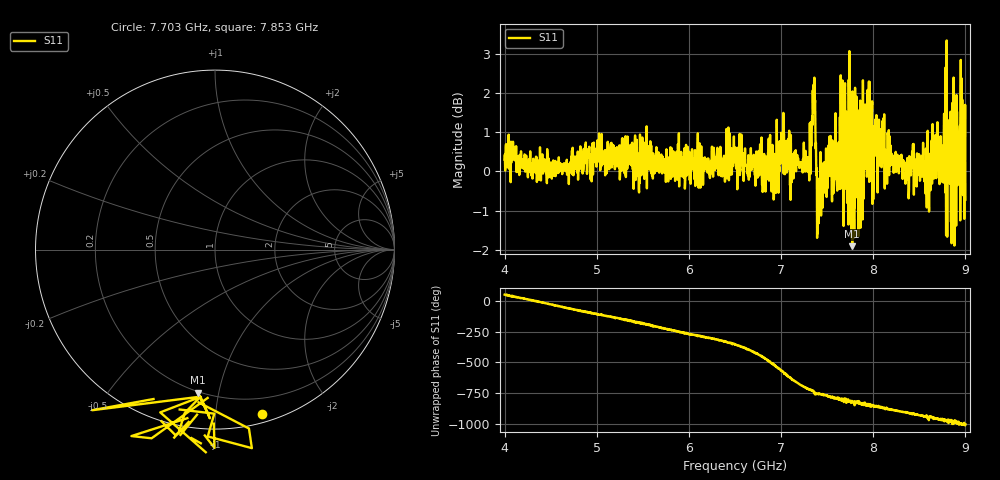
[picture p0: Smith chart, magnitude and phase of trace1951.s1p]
! Created with skrf 1.8.0 (http://scikit-rf.org).
# Hz S RI R 50.0
!freq ReS11 ImS11
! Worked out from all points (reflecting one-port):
!   1601 points, 4 GHz to 9 GHz, reference 50 ohm
!   lowest |S11| = -1.9 dB at 7.772 GHz (marker M1), VSWR 9.17, Z = 9.65 - j43.4 ohm
!   phase of S11 starts at 50 deg and turns -1051 deg over the sweep
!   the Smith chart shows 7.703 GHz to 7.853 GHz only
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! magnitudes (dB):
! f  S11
! 4 GHz  0.3
! 4.625 GHz  -0.1
! 5.25 GHz  -0.2
! 5.875 GHz  0.3
! 6.5 GHz  0.6
! 6.816 GHz  0.4
! 7.009 GHz  0.3
! 7.125 GHz  0.2
! 7.294 GHz  0.0
! 7.347 GHz  1.6
! 7.4 GHz  -0.2
! 7.416 GHz  -0.2
! 7.534 GHz  0.2
! 7.619 GHz  0.4
! 7.672 GHz  2.1
! 7.75 GHz  -0.3
! 7.772 GHz  -1.9
! 7.834 GHz  0.6
! 7.888 GHz  2.3
! 7.928 GHz  1.6
! 7.981 GHz  -0.2
! 8.094 GHz  1.0
! 8.375 GHz  -0.1
! 8.6 GHz  0.3
! 8.791 GHz  -1.6
! 8.875 GHz  1.1
! 8.959 GHz  2.4
! 9 GHz  -0.7
